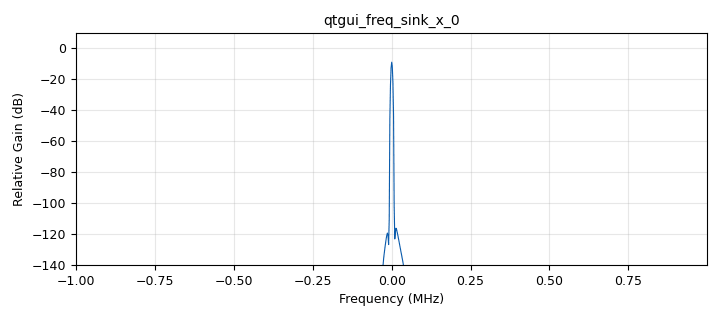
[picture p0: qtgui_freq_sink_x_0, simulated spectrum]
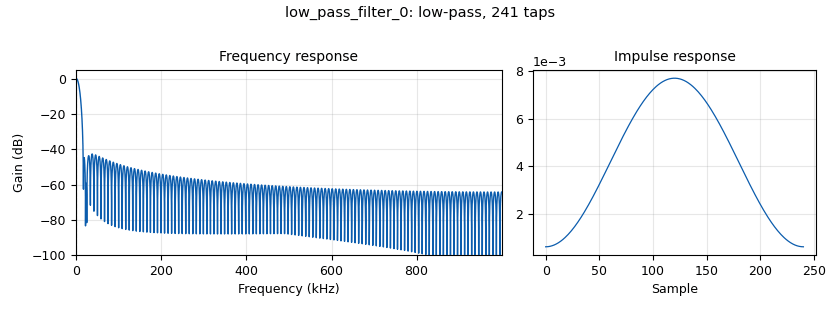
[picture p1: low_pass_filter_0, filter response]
options:
  parameters:
    author: jkita
    generate_options: qt_gui
    id: lpf_example
    output_language: python
    title: Not titled yet
  states: {}

blocks:
- name: cutoff_freq
  id: variable_qtgui_range
  parameters:
    start: '10'
    step: '1'
    stop: samp_rate
    value: '10'
  states: {}
- name: freq
  id: variable_qtgui_range
  parameters:
    start: '100'
    step: '1'
    stop: samp_rate
    value: '100'
  states: {}
- name: samp_rate
  id: variable
  parameters:
    value: 2e6
  states: {}
- name: analog_sig_source_x_0
  id: analog_sig_source_x
  parameters:
    amp: '1'
    freq: freq
    offset: '0'
    phase: '0'
    samp_rate: samp_rate
    type: complex
    waveform: analog.GR_COS_WAVE
  states: {}
- name: blocks_throttle_0
  id: blocks_throttle
  parameters:
    samples_per_second: samp_rate
    type: complex
  states: {}
- name: low_pass_filter_0
  id: low_pass_filter
  parameters:
    cutoff_freq: cutoff_freq
    decim: '1'
    gain: '1'
    samp_rate: samp_rate
    type: fir_filter_ccf
    width: 20e3
    win: window.WIN_HAMMING
  states: {}
- name: qtgui_freq_sink_x_0
  id: qtgui_freq_sink_x
  parameters:
    bw: samp_rate
    fc: '0'
    fftsize: '1024'
    type: complex
  states: {}

connections:
- [analog_sig_source_x_0, '0', low_pass_filter_0, '0']
- [blocks_throttle_0, '0', qtgui_freq_sink_x_0, '0']
- [low_pass_filter_0, '0', blocks_throttle_0, '0']

metadata:
  file_format: 1
  grc_version: 3.10.5.1
